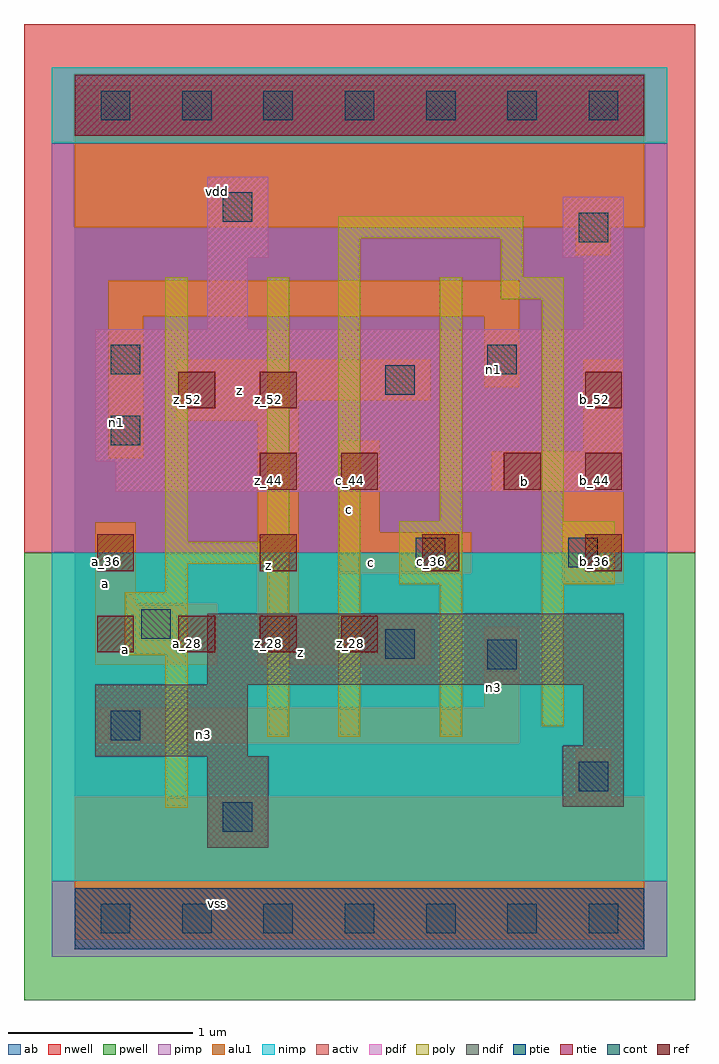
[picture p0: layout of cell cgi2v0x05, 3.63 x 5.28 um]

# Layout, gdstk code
import gdstk
lib = gdstk.Library(unit=1e-6, precision=2.5e-09)
def R(c, l, rs):  # rectangles x0, y0, x1, y1
    for r in rs: c.add(gdstk.rectangle(r[:2], r[2:], *l))
def A(c, l, x, y, w, h, nx, ny, dx, dy):  # array of equal rectangles
    R(c, l, [(x+i*dx, y+j*dy, x+i*dx+w, y+j*dy+h) for i in range(nx) for j in range(ny)])
ndif = (3, 0)
pdif = (4, 0)
ntie = (5, 0)
ptie = (6, 0)
ref = (24, 0)
cont = (25, 0)
pwell = (41, 0)
nwell = (42, 0)
activ = (43, 0)
pimp = (44, 0)
nimp = (45, 0)
poly = (46, 0)
alu1 = (49, 0)
ab = (63, 0)

cgi2v0x05 = lib.new_cell('cgi2v0x05')
R(cgi2v0x05, ndif, [(0.715,0.385,1.045,0.88), (2.64,0.605,2.97,0.935), (0.11,0.88,0.935,1.265), (2.75,0.935,2.97,1.265), (0.715,1.265,2.97,1.65)])
R(cgi2v0x05, pdif, [(0.22,2.31,2.97,2.475), (0.11,2.475,2.97,3.19), (0.715,3.19,0.935,3.575), (2.75,3.19,2.97,3.575), (0.715,3.575,1.045,4.015), (2.64,3.575,2.97,3.905)])
R(cgi2v0x05, ntie, [(0,4.235,3.08,4.565)])
R(cgi2v0x05, ptie, [(0,-0.165,3.08,0.165)])
A(cgi2v0x05, ref, 0.12, 1.44, 0.2, 0.2, 4, 1, 0.44, 0)
A(cgi2v0x05, ref, 0.12, 1.88, 0.2, 0.2, 4, 1, 0.88, 0)
R(cgi2v0x05, ref, [(1,2.32,1.2,2.52), (1.44,2.32,1.64,2.52), (2.32,2.32,2.52,2.52), (2.76,2.32,2.96,2.52), (0.56,2.76,0.76,2.96), (1,2.76,1.2,2.96), (2.76,2.76,2.96,2.96)])
A(cgi2v0x05, cont, 0.14, -0.08, 0.16, 0.16, 7, 2, 0.44, 4.4)
R(cgi2v0x05, cont, [(0.8,0.47,0.96,0.63), (2.725,0.69,2.885,0.85), (0.195,0.965,0.355,1.125), (2.23,1.35,2.39,1.51), (1.68,1.405,1.84,1.565), (0.36,1.515,0.52,1.675), (1.845,1.9,2.005,2.06), (2.67,1.9,2.83,2.06), (0.195,2.56,0.355,2.72), (1.68,2.835,1.84,2.995), (0.195,2.945,0.355,3.105), (2.23,2.945,2.39,3.105), (2.725,3.66,2.885,3.82), (0.8,3.77,0.96,3.93)])
R(cgi2v0x05, pwell, [(-0.275,-0.44,3.355,1.98)])
R(cgi2v0x05, nwell, [(-0.275,1.98,3.355,4.84)])
R(cgi2v0x05, activ, [(0,-0.165,3.08,0.165), (0.715,0.385,1.045,0.88), (2.64,0.605,2.97,0.935), (0.11,0.88,0.935,1.265), (2.75,0.935,2.97,1.265), (0.715,1.265,2.97,1.65), (0.22,2.31,2.97,2.475), (0.11,2.475,2.97,3.19), (0.715,3.19,0.935,3.575), (2.75,3.19,2.97,3.575), (0.715,3.575,1.045,4.015), (2.64,3.575,2.97,3.905), (0,4.235,3.08,4.565)])
R(cgi2v0x05, pimp, [(-0.125,-0.205,3.205,0.205), (-0.125,1.98,3.205,4.195)])
R(cgi2v0x05, nimp, [(-0.125,0.205,3.205,1.98), (-0.125,4.195,3.205,4.605)])
R(cgi2v0x05, poly, [(0.49,0.6,0.61,1.425), (1.04,0.985,1.16,1.92), (1.425,0.985,1.545,3.68), (1.975,0.985,2.095,1.81), (2.525,1.04,2.645,1.81), (0.27,1.425,0.61,1.765), (0.49,1.765,0.61,1.92), (1.755,1.81,2.095,2.15), (2.525,1.81,2.92,2.15), (0.49,1.92,1.16,2.04), (0.49,2.04,0.61,3.47), (1.04,2.04,1.16,3.47), (1.975,2.15,2.095,3.47), (2.525,2.15,2.645,3.35), (2.305,3.35,2.645,3.47), (2.305,3.47,2.425,3.68), (1.425,3.68,2.425,3.8)])
R(cgi2v0x05, alu1, [(0,-0.11,3.08,0.66), (2.71,0.66,2.9,0.92), (0.125,0.95,2.405,1.14), (2.215,1.14,2.405,1.58), (0.11,1.375,0.77,1.705), (0.99,1.375,1.925,1.65), (0.99,1.65,1.21,2.695), (0.11,1.705,0.33,2.145), (2.64,1.815,2.97,2.31), (1.43,1.87,2.145,2.09), (1.43,2.09,1.65,2.585), (2.255,2.31,2.97,2.53), (0.18,2.49,0.37,3.26), (2.75,2.53,2.97,3.025), (0.55,2.695,1.21,2.805), (0.55,2.805,1.925,3.025), (2.215,2.875,2.405,3.26), (0.18,3.26,2.405,3.45), (2.71,3.59,2.9,3.74), (0,3.74,3.08,4.51)])
R(cgi2v0x05, ab, [(0,0,3.08,4.4)])
cgi2v0x05.add(gdstk.Label('vss', (0.77,0.0825), layer=49, texttype=0))
cgi2v0x05.add(gdstk.Label('n3', (0.695,0.9975), layer=49, texttype=0))
cgi2v0x05.add(gdstk.Label('n3', (2.2625,1.25), layer=49, texttype=0))
cgi2v0x05.add(gdstk.Label('z', (1.2225,1.4425), layer=49, texttype=0))
cgi2v0x05.add(gdstk.Label('c', (1.6075,1.925), layer=49, texttype=0))
cgi2v0x05.add(gdstk.Label('b', (2.4325,2.365), layer=49, texttype=0))
cgi2v0x05.add(gdstk.Label('c', (1.485,2.2125), layer=49, texttype=0))
cgi2v0x05.add(gdstk.Label('z', (1.045,1.91), layer=49, texttype=0))
cgi2v0x05.add(gdstk.Label('a', (0.275,1.4575), layer=49, texttype=0))
cgi2v0x05.add(gdstk.Label('a', (0.165,1.815), layer=49, texttype=0))
cgi2v0x05.add(gdstk.Label('n1', (2.2625,2.97), layer=49, texttype=0))
cgi2v0x05.add(gdstk.Label('z', (0.8925,2.86), layer=49, texttype=0))
cgi2v0x05.add(gdstk.Label('n1', (0.2275,2.6825), layer=49, texttype=0))
cgi2v0x05.add(gdstk.Label('vdd', (0.77,3.9325), layer=49, texttype=0))
cgi2v0x05.add(gdstk.Label('a_28', (0.61,1.49), layer=24, texttype=0))
cgi2v0x05.add(gdstk.Label('z_52', (0.61,2.81), layer=24, texttype=0))
cgi2v0x05.add(gdstk.Label('z_28', (1.05,1.49), layer=24, texttype=0))
cgi2v0x05.add(gdstk.Label('z_36', (1.05,1.93), layer=24, texttype=0))
cgi2v0x05.add(gdstk.Label('z_44', (1.05,2.37), layer=24, texttype=0))
cgi2v0x05.add(gdstk.Label('z_52', (1.05,2.81), layer=24, texttype=0))
cgi2v0x05.add(gdstk.Label('z_28', (1.49,1.49), layer=24, texttype=0))
cgi2v0x05.add(gdstk.Label('c_44', (1.49,2.37), layer=24, texttype=0))
cgi2v0x05.add(gdstk.Label('c_36', (1.93,1.93), layer=24, texttype=0))
cgi2v0x05.add(gdstk.Label('a_28', (0.17,1.49), layer=24, texttype=0))
cgi2v0x05.add(gdstk.Label('a_36', (0.17,1.93), layer=24, texttype=0))
cgi2v0x05.add(gdstk.Label('b_44', (2.37,2.37), layer=24, texttype=0))
cgi2v0x05.add(gdstk.Label('b_36', (2.81,1.93), layer=24, texttype=0))
cgi2v0x05.add(gdstk.Label('b_44', (2.81,2.37), layer=24, texttype=0))
cgi2v0x05.add(gdstk.Label('b_52', (2.81,2.81), layer=24, texttype=0))

lib.write_gds('cgi2v0x05.gds')
